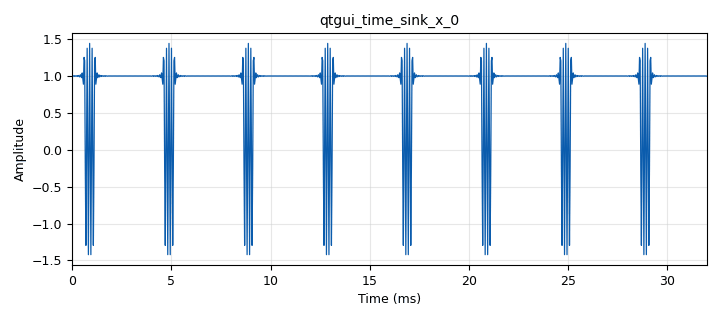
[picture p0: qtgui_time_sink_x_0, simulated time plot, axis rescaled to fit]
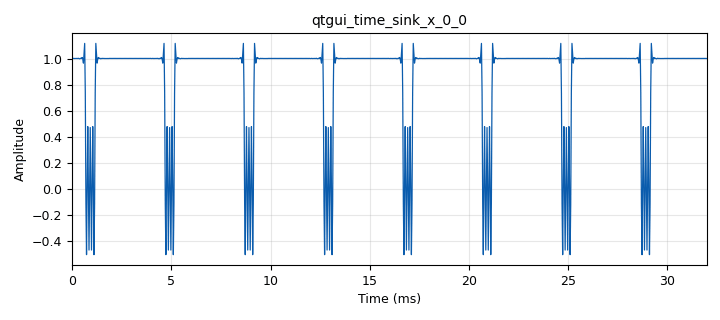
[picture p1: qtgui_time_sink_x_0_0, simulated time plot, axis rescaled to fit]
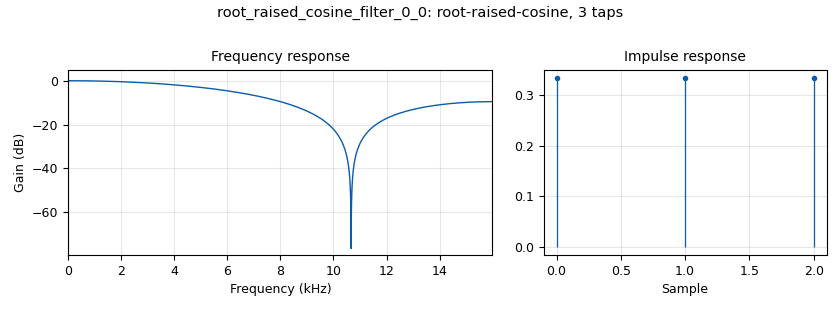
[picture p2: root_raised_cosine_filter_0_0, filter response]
<?xml version='1.0' encoding='utf-8'?>
<?grc format='1' created='3.7.10'?>
<flow_graph>
<block>
<key>options</key>
<param><key>id</key><value>top_block</value></param>
<param><key>generate_options</key><value>qt_gui</value></param>
</block>
<block>
<key>variable</key>
<param><key>id</key><value>samp_rate</value></param>
<param><key>value</key><value>32000</value></param>
</block>
<block>
<key>analog_sig_source_x</key>
<param><key>id</key><value>analog_sig_source_x_0</value></param>
<param><key>amp</key><value>1</value></param>
<param><key>freq</key><value>4000</value></param>
<param><key>offset</key><value>0</value></param>
<param><key>type</key><value>short</value></param>
<param><key>samp_rate</key><value>samp_rate</value></param>
<param><key>waveform</key><value>analog.GR_COS_WAVE</value></param>
</block>
<block>
<key>blocks_complex_to_float</key>
<param><key>id</key><value>blocks_complex_to_float_0</value></param>
</block>
<block>
<key>blocks_short_to_char</key>
<param><key>id</key><value>blocks_short_to_char_0</value></param>
</block>
<block>
<key>blocks_throttle</key>
<param><key>id</key><value>blocks_throttle_0_1</value></param>
<param><key>samples_per_second</key><value>samp_rate</value></param>
<param><key>type</key><value>float</value></param>
</block>
<block>
<key>digital_dxpsk_mod</key>
<param><key>id</key><value>digital_dxpsk_mod_0</value></param>
<param><key>excess_bw</key><value>0.35</value></param>
<param><key>mod_code</key><value>"gray"</value></param>
<param><key>log</key><value>False</value></param>
<param><key>samples_per_symbol</key><value>2</value></param>
<param><key>type</key><value>dbpsk</value></param>
<param><key>verbose</key><value>False</value></param>
</block>
<block>
<key>qtgui_time_sink_x</key>
<param><key>id</key><value>qtgui_time_sink_x_0</value></param>
<param><key>color1</key><value>"blue"</value></param>
<param><key>label1</key><value></value></param>
<param><key>size</key><value>1024</value></param>
<param><key>srate</key><value>samp_rate</value></param>
<param><key>type</key><value>float</value></param>
</block>
<block>
<key>qtgui_time_sink_x</key>
<param><key>id</key><value>qtgui_time_sink_x_0_0</value></param>
<param><key>color1</key><value>"blue"</value></param>
<param><key>label1</key><value></value></param>
<param><key>size</key><value>1024</value></param>
<param><key>srate</key><value>samp_rate</value></param>
<param><key>type</key><value>float</value></param>
</block>
<block>
<key>root_raised_cosine_filter</key>
<param><key>id</key><value>root_raised_cosine_filter_0_0</value></param>
<param><key>alpha</key><value>0.35</value></param>
<param><key>decim</key><value>1</value></param>
<param><key>type</key><value>fir_filter_fff</value></param>
<param><key>gain</key><value>1</value></param>
<param><key>ntaps</key><value>2</value></param>
<param><key>samp_rate</key><value>samp_rate</value></param>
<param><key>sym_rate</key><value>1.0</value></param>
</block>
<connection><source_block_id>analog_sig_source_x_0</source_block_id><sink_block_id>blocks_short_to_char_0</sink_block_id><source_key>0</source_key><sink_key>0</sink_key></connection>
<connection><source_block_id>blocks_complex_to_float_0</source_block_id><sink_block_id>qtgui_time_sink_x_0</sink_block_id><source_key>0</source_key><sink_key>0</sink_key></connection>
<connection><source_block_id>blocks_complex_to_float_0</source_block_id><sink_block_id>root_raised_cosine_filter_0_0</sink_block_id><source_key>0</source_key><sink_key>0</sink_key></connection>
<connection><source_block_id>blocks_short_to_char_0</source_block_id><sink_block_id>digital_dxpsk_mod_0</sink_block_id><source_key>0</source_key><sink_key>0</sink_key></connection>
<connection><source_block_id>blocks_throttle_0_1</source_block_id><sink_block_id>qtgui_time_sink_x_0_0</sink_block_id><source_key>0</source_key><sink_key>0</sink_key></connection>
<connection><source_block_id>digital_dxpsk_mod_0</source_block_id><sink_block_id>blocks_complex_to_float_0</sink_block_id><source_key>0</source_key><sink_key>0</sink_key></connection>
<connection><source_block_id>root_raised_cosine_filter_0_0</source_block_id><sink_block_id>blocks_throttle_0_1</sink_block_id><source_key>0</source_key><sink_key>0</sink_key></connection>
</flow_graph>
